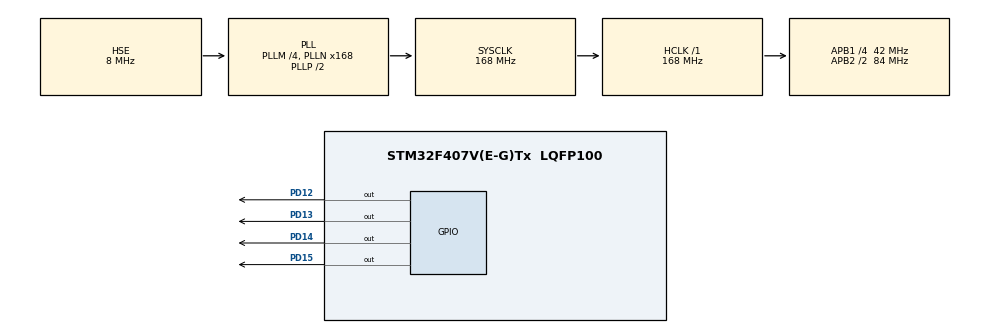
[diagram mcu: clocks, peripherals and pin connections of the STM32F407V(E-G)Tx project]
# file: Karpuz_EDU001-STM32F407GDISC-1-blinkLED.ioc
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Mcu.Family=STM32F4
Mcu.Name=STM32F407V(E-G)Tx
Mcu.Package=LQFP100
NVIC.PriorityGroup=NVIC_PRIORITYGROUP_4
PD12.Signal=GPIO_Output
PD13.Signal=GPIO_Output
PD14.Signal=GPIO_Output
PD15.Signal=GPIO_Output
PH0-OSC_IN.Mode=HSE-External-Oscillator
PH0-OSC_IN.Signal=RCC_OSC_IN
PH1-OSC_OUT.Mode=HSE-External-Oscillator
PH1-OSC_OUT.Signal=RCC_OSC_OUT
ProjectManager.HeapSize=0x200
ProjectManager.StackSize=0x400
ProjectManager.TargetToolchain=STM32CubeIDE
RCC.48MHZClocksFreq_Value=84000000
RCC.AHBFreq_Value=168000000
RCC.APB1CLKDivider=RCC_HCLK_DIV4
RCC.APB1Freq_Value=42000000
RCC.APB1TimFreq_Value=84000000
RCC.APB2CLKDivider=RCC_HCLK_DIV2
RCC.APB2Freq_Value=84000000
RCC.APB2TimFreq_Value=168000000
RCC.CortexFreq_Value=168000000
RCC.EnbaleCSS=true
RCC.HCLKFreq_Value=168000000
RCC.HSE_VALUE=8000000
RCC.HSI_VALUE=16000000
RCC.LSE_VALUE=32768
RCC.PLLM=4
RCC.PLLN=168
RCC.PLLSourceVirtual=RCC_PLLSOURCE_HSE
RCC.SYSCLKFreq_VALUE=168000000
RCC.SYSCLKSource=RCC_SYSCLKSOURCE_PLLCLK
RCC.VCOOutputFreq_Value=336000000
board=custom

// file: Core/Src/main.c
/* USER CODE BEGIN Header */
/**
  ******************************************************************************
  * @file           : main.c
  * @brief          : Main program body
  ******************************************************************************
  * @attention
  *
  * Copyright (c) 2026 STMicroelectronics.
  * All rights reserved.
  *
  * This software is licensed under terms that can be found in the LICENSE file
  * in the root directory of this software component.
  * If no LICENSE file comes with this software, it is provided AS-IS.
  *
  ******************************************************************************
  */
/* USER CODE END Header */
#include "main.h"

/* USER CODE BEGIN PV */
uint32_t pretime = 0;
uint8_t ledc = 0;
/* USER CODE END PV */

void SystemClock_Config(void);
static void MX_GPIO_Init(void);

int main(void)
{

  /* MCU Configuration--------------------------------------------------------*/

  /* Reset of all peripherals, Initializes the Flash interface and the Systick. */
  HAL_Init();

  /* Configure the system clock */
  SystemClock_Config();

  /* Initialize all configured peripherals */
  MX_GPIO_Init();

  /* Infinite loop */
  /* USER CODE BEGIN WHILE */
  while (1)
  {
	  if (HAL_GetTick() - pretime >= 500)
  {
  	pretime = HAL_GetTick();
  	ledc += 1;

  	if (ledc == 1)
  	{HAL_GPIO_TogglePin(GPIOD, GPIO_PIN_12);}
  	else if (ledc == 2)
  	{HAL_GPIO_TogglePin(GPIOD, GPIO_PIN_13);}
  	else if (ledc == 3)
  	{HAL_GPIO_TogglePin(GPIOD, GPIO_PIN_14);}
  	else if (ledc == 4)
  	{HAL_GPIO_TogglePin(GPIOD, GPIO_PIN_15);}

  	else {ledc=0;}
  }}
    /* USER CODE END WHILE */

}

void SystemClock_Config(void)
{
  RCC_OscInitTypeDef RCC_OscInitStruct = {0};
  RCC_ClkInitTypeDef RCC_ClkInitStruct = {0};

  /** Configure the main internal regulator output voltage
  */
  __HAL_RCC_PWR_CLK_ENABLE();
  __HAL_PWR_VOLTAGESCALING_CONFIG(PWR_REGULATOR_VOLTAGE_SCALE1);

  /** Initializes the RCC Oscillators according to the specified parameters
  * in the RCC_OscInitTypeDef structure.
  */
  RCC_OscInitStruct.OscillatorType = RCC_OSCILLATORTYPE_HSE;
  RCC_OscInitStruct.HSEState = RCC_HSE_ON;
  RCC_OscInitStruct.PLL.PLLState = RCC_PLL_ON;
  RCC_OscInitStruct.PLL.PLLSource = RCC_PLLSOURCE_HSE;
  RCC_OscInitStruct.PLL.PLLM = 4;
  RCC_OscInitStruct.PLL.PLLN = 168;
  RCC_OscInitStruct.PLL.PLLP = RCC_PLLP_DIV2;
  RCC_OscInitStruct.PLL.PLLQ = 4;
  if (HAL_RCC_OscConfig(&RCC_OscInitStruct) != HAL_OK)
  {
    Error_Handler();
  }

  /** Initializes the CPU, AHB and APB buses clocks
  */
  RCC_ClkInitStruct.ClockType = RCC_CLOCKTYPE_HCLK|RCC_CLOCKTYPE_SYSCLK
                              |RCC_CLOCKTYPE_PCLK1|RCC_CLOCKTYPE_PCLK2;
  RCC_ClkInitStruct.SYSCLKSource = RCC_SYSCLKSOURCE_PLLCLK;
  RCC_ClkInitStruct.AHBCLKDivider = RCC_SYSCLK_DIV1;
  RCC_ClkInitStruct.APB1CLKDivider = RCC_HCLK_DIV4;
  RCC_ClkInitStruct.APB2CLKDivider = RCC_HCLK_DIV2;

  if (HAL_RCC_ClockConfig(&RCC_ClkInitStruct, FLASH_LATENCY_5) != HAL_OK)
  {
    Error_Handler();
  }

  /** Enables the Clock Security System
  */
  HAL_RCC_EnableCSS();
}

static void MX_GPIO_Init(void)
{
  GPIO_InitTypeDef GPIO_InitStruct = {0};

  /* GPIO Ports Clock Enable */
  __HAL_RCC_GPIOH_CLK_ENABLE();
  __HAL_RCC_GPIOD_CLK_ENABLE();

  /*Configure GPIO pin Output Level */
  HAL_GPIO_WritePin(GPIOD, GPIO_PIN_12|GPIO_PIN_13|GPIO_PIN_14|GPIO_PIN_15, GPIO_PIN_RESET);

  /*Configure GPIO pins : PD12 PD13 PD14 PD15 */
  GPIO_InitStruct.Pin = GPIO_PIN_12|GPIO_PIN_13|GPIO_PIN_14|GPIO_PIN_15;
  GPIO_InitStruct.Mode = GPIO_MODE_OUTPUT_PP;
  GPIO_InitStruct.Pull = GPIO_NOPULL;
  GPIO_InitStruct.Speed = GPIO_SPEED_FREQ_LOW;
  HAL_GPIO_Init(GPIOD, &GPIO_InitStruct);

}

void Error_Handler(void)
{
  __disable_irq();
  while (1)
  {
  }
}
